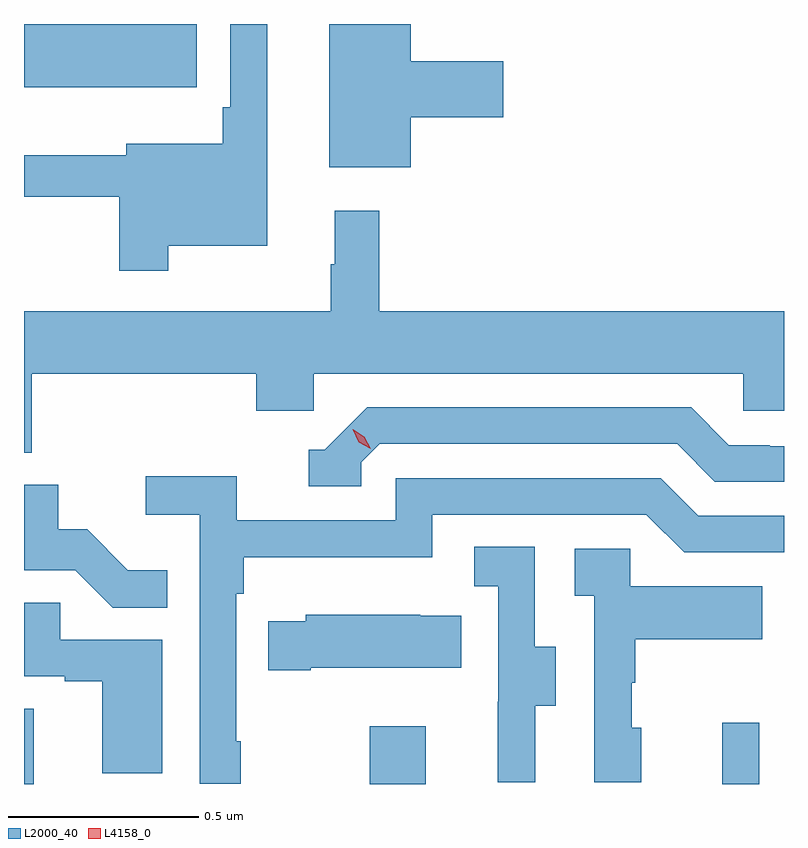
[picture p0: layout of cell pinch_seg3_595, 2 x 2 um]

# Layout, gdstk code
import gdstk
lib = gdstk.Library(unit=1e-6, precision=1e-09)
def R(c, l, rs):  # rectangles x0, y0, x1, y1
    for r in rs: c.add(gdstk.rectangle(r[:2], r[2:], *l))
def P(c, l, *ps):  # polygons
    for p in ps: c.add(gdstk.Polygon(p, *l))
L2000_40 = (2000, 40)
L4158_0 = (4158, 0)

pinch_seg3_595 = lib.new_cell('pinch_seg3_595')
R(pinch_seg3_595, L2000_40, [(1053.36,689.18,1053.385,689.378), (1054.27,689.18,1054.417,689.332), (1055.198,689.18,1055.295,689.341)])
P(pinch_seg3_595, L2000_40, [(1053.739,690.596),(1054,690.596),(1054,691.18),(1053.903,691.18),(1053.903,690.961),(1053.883,690.961),(1053.883,690.865),(1053.629,690.865),(1053.629,690.835),(1053.36,690.835),(1053.36,690.726),(1053.61,690.726),(1053.61,690.531),(1053.739,690.531)],
  [(1053.814,691.18),(1053.566,691.18),(1053.566,691.179),(1053.36,691.179),(1053.36,691.013),(1053.814,691.013)],
  [(1054.378,690.935),(1054.621,690.935),(1054.621,691.082),(1054.378,691.082),(1054.378,691.18),(1054.163,691.18),(1054.163,690.803),(1054.378,690.803)],
  [(1053.36,690.052),(1053.38,690.052),(1053.38,690.26),(1053.971,690.26),(1053.971,690.162),(1054.122,690.162),(1054.122,690.26),(1055.253,690.26),(1055.253,690.162),(1055.36,690.162),(1055.36,690.424),(1054.295,690.424),(1054.295,690.688),(1054.178,690.688),(1054.178,690.548),(1054.167,690.548),(1054.167,690.424),(1053.36,690.424)],
  [(1054.248,690.027),(1054.296,690.075),(1055.079,690.075),(1055.178,689.976),(1055.36,689.976),(1055.36,690.069),(1055.322,690.069),(1055.322,690.072),(1055.215,690.072),(1055.116,690.171),(1054.263,690.171),(1054.152,690.06),(1054.109,690.06),(1054.109,689.964),(1054.248,689.964)],
  [(1053.931,689.293),(1053.918,689.293),(1053.918,689.681),(1053.938,689.681),(1053.938,689.777),(1054.434,689.777),(1054.434,689.889),(1054.998,689.889),(1055.097,689.79),(1055.36,689.79),(1055.36,689.886),(1055.134,689.886),(1055.035,689.985),(1054.338,689.985),(1054.338,689.874),(1053.92,689.874),(1053.92,689.99),(1053.681,689.99),(1053.681,689.888),(1053.822,689.888),(1053.822,689.181),(1053.931,689.181)],
  [(1053.737,689.743),(1053.633,689.743),(1053.526,689.85),(1053.45,689.85),(1053.45,689.967),(1053.36,689.967),(1053.36,689.742),(1053.495,689.742),(1053.593,689.644),(1053.737,689.644)],
  [(1054.705,689.386),(1054.759,689.386),(1054.759,689.541),(1054.704,689.541),(1054.704,689.804),(1054.545,689.804),(1054.545,689.701),(1054.608,689.701),(1054.608,689.397),(1054.607,689.397),(1054.607,689.184),(1054.705,689.184)],
  [(1054.984,689.328),(1054.959,689.328),(1054.959,689.447),(1054.969,689.447),(1054.969,689.561),(1055.303,689.561),(1055.303,689.701),(1054.956,689.701),(1054.956,689.799),(1054.809,689.799),(1054.809,689.675),(1054.86,689.675),(1054.86,689.184),(1054.984,689.184)],
  [(1053.724,689.559),(1053.455,689.559),(1053.455,689.657),(1053.36,689.657),(1053.36,689.463),(1053.467,689.463),(1053.467,689.451),(1053.566,689.451),(1053.566,689.208),(1053.724,689.208)],
  [(1054.114,689.486),(1054.511,689.486),(1054.511,689.623),(1054.403,689.623),(1054.403,689.626),(1054.101,689.626),(1054.101,689.608),(1054.003,689.608),(1054.003,689.479),(1054.114,689.479)])
P(pinch_seg3_595, L4158_0, [(1054.272,690.062),(1054.241,690.08),(1054.225,690.113),(1054.225,690.113),(1054.225,690.113),(1054.256,690.094),(1054.272,690.062),(1054.272,690.062)])

lib.write_gds('pinch_seg3_595.gds')
